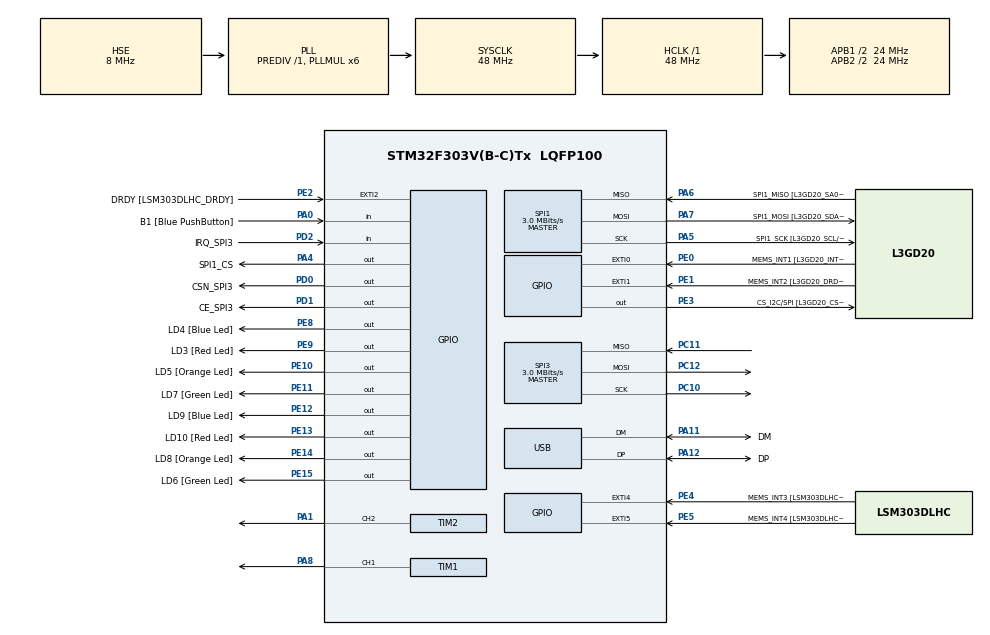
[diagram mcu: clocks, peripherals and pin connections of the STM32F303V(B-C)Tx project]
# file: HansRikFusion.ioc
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Mcu.Family=STM32F3
Mcu.Name=STM32F303V(B-C)Tx
Mcu.Package=LQFP100
NVIC.PriorityGroup=NVIC_PRIORITYGROUP_0
NVIC.USB_LP_CAN_RX0_IRQn=true\:0\:0\:false\:false\:true
PA0.GPIO_Label=B1 [Blue PushButton]
PA0.GPIO_Mode=GPIO_MODE_INPUT
PA0.GPIO_PuPd=GPIO_NOPULL
PA0.Signal=GPIO_Input
PA1.Signal=S_TIM2_CH2
PA11.GPIO_Label=DM
PA11.Mode=Device
PA11.Signal=USB_DM
PA12.GPIO_Label=DP
PA12.Mode=Device
PA12.Signal=USB_DP
PA13.GPIO_Label=SWDIO
PA13.Signal=SYS_JTMS-SWDIO
PA14.GPIO_Label=SWCLK
PA14.Signal=SYS_JTCK-SWCLK
PA4.GPIO_Label=SPI1_CS
PA4.PinState=GPIO_PIN_SET
PA4.Signal=GPIO_Output
PA5.GPIO_Label=SPI1_SCK [L3GD20_SCL/SPC]
PA5.GPIO_Mode=GPIO_MODE_AF_PP
PA5.GPIO_PuPd=GPIO_NOPULL
PA5.GPIO_Speed=GPIO_SPEED_FREQ_LOW
PA5.Mode=Full_Duplex_Master
PA5.Signal=SPI1_SCK
PA6.GPIO_Label=SPI1_MISO [L3GD20_SA0/SDO]
PA6.GPIO_Mode=GPIO_MODE_AF_PP
PA6.GPIO_PuPd=GPIO_PULLDOWN
PA6.GPIO_Speed=GPIO_SPEED_FREQ_LOW
PA6.Mode=Full_Duplex_Master
PA6.Signal=SPI1_MISO
PA7.GPIO_Label=SPI1_MOSI [L3GD20_SDA/SDI/SDO]
PA7.GPIO_Mode=GPIO_MODE_AF_PP
PA7.GPIO_PuPd=GPIO_NOPULL
PA7.GPIO_Speed=GPIO_SPEED_FREQ_LOW
PA7.Mode=Full_Duplex_Master
PA7.Signal=SPI1_MOSI
PA8.Signal=S_TIM1_CH1
PB3.GPIO_Label=SWO
PB3.Signal=SYS_JTDO-TRACESWO
PB6.GPIO_FM6=__NULL
PB6.GPIO_Label=I2C1_SCL [LSM303DLHC_SCL]
PB6.GPIO_Mode=GPIO_MODE_AF_OD
PB6.GPIO_PuPd=GPIO_NOPULL
PB6.GPIO_Speed=GPIO_SPEED_FREQ_LOW
PB6.Signal=I2C1_SCL
PB7.GPIO_FM7=__NULL
PB7.GPIO_Label=I2C1_SDA [LSM303DLHC_SDA]
PB7.GPIO_Mode=GPIO_MODE_AF_OD
PB7.GPIO_PuPd=GPIO_NOPULL
PB7.GPIO_Speed=GPIO_SPEED_FREQ_LOW
PB7.Signal=I2C1_SDA
PC10.Mode=Full_Duplex_Master
PC10.Signal=SPI3_SCK
PC11.Mode=Full_Duplex_Master
PC11.Signal=SPI3_MISO
PC12.Mode=Full_Duplex_Master
PC12.Signal=SPI3_MOSI
PC14-OSC32_IN.GPIO_Label=OSC32_IN
PC14-OSC32_IN.Signal=RCC_OSC32_IN
PC15-OSC32_OUT.GPIO_Label=OSC32_OUT
PC15-OSC32_OUT.Signal=RCC_OSC32_OUT
PD0.GPIO_Label=CSN_SPI3
PD0.Signal=GPIO_Output
PD1.GPIO_Label=CE_SPI3
PD1.Signal=GPIO_Output
PD2.GPIO_Label=IRQ_SPI3
PD2.Signal=GPIO_Input
PE0.GPIO_Label=MEMS_INT1 [L3GD20_INT1]
PE0.GPIO_ModeDefaultEXTI=GPIO_MODE_EVT_RISING
PE0.GPIO_PuPd=GPIO_NOPULL
PE0.Signal=GPXTI0
PE1.GPIO_Label=MEMS_INT2 [L3GD20_DRDY/INT2]
PE1.GPIO_ModeDefaultEXTI=GPIO_MODE_EVT_RISING
PE1.GPIO_PuPd=GPIO_NOPULL
PE1.Signal=GPXTI1
PE10.GPIO_Label=LD5 [Orange Led]
PE10.GPIO_ModeDefaultOutputPP=GPIO_MODE_OUTPUT_PP
PE10.GPIO_PuPd=GPIO_NOPULL
PE10.GPIO_Speed=GPIO_SPEED_FREQ_LOW
PE10.Signal=GPIO_Output
PE11.GPIO_Label=LD7 [Green Led]
PE11.GPIO_ModeDefaultOutputPP=GPIO_MODE_OUTPUT_PP
PE11.GPIO_PuPd=GPIO_NOPULL
PE11.GPIO_Speed=GPIO_SPEED_FREQ_LOW
PE11.Signal=GPIO_Output
PE12.GPIO_Label=LD9 [Blue Led]
PE12.GPIO_ModeDefaultOutputPP=GPIO_MODE_OUTPUT_PP
PE12.GPIO_PuPd=GPIO_NOPULL
PE12.GPIO_Speed=GPIO_SPEED_FREQ_LOW
PE12.Signal=GPIO_Output
PE13.GPIO_Label=LD10 [Red Led]
PE13.GPIO_ModeDefaultOutputPP=GPIO_MODE_OUTPUT_PP
PE13.GPIO_PuPd=GPIO_NOPULL
PE13.GPIO_Speed=GPIO_SPEED_FREQ_LOW
PE13.Signal=GPIO_Output
PE14.GPIO_Label=LD8 [Orange Led]
PE14.GPIO_ModeDefaultOutputPP=GPIO_MODE_OUTPUT_PP
PE14.GPIO_PuPd=GPIO_NOPULL
PE14.GPIO_Speed=GPIO_SPEED_FREQ_LOW
PE14.Signal=GPIO_Output
PE15.GPIO_Label=LD6 [Green Led]
PE15.GPIO_ModeDefaultOutputPP=GPIO_MODE_OUTPUT_PP
PE15.GPIO_PuPd=GPIO_NOPULL
PE15.GPIO_Speed=GPIO_SPEED_FREQ_LOW
PE15.Signal=GPIO_Output
PE2.GPIO_Label=DRDY [LSM303DLHC_DRDY]
PE2.GPIO_ModeDefaultEXTI=GPIO_MODE_EVT_RISING
PE2.GPIO_PuPd=GPIO_NOPULL
PE2.Signal=GPXTI2
PE3.GPIO_Label=CS_I2C/SPI [L3GD20_CS_I2C/SPI]
PE3.GPIO_ModeDefaultOutputPP=GPIO_MODE_OUTPUT_PP
PE3.GPIO_PuPd=GPIO_NOPULL
PE3.GPIO_Speed=GPIO_SPEED_FREQ_LOW
PE3.Signal=GPIO_Output
PE4.GPIO_Label=MEMS_INT3 [LSM303DLHC_INT1]
PE4.GPIO_ModeDefaultEXTI=GPIO_MODE_EVT_RISING
PE4.GPIO_PuPd=GPIO_NOPULL
PE4.Signal=GPXTI4
PE5.GPIO_Label=MEMS_INT4 [LSM303DLHC_INT2]
PE5.GPIO_ModeDefaultEXTI=GPIO_MODE_EVT_RISING
PE5.GPIO_PuPd=GPIO_NOPULL
PE5.Signal=GPXTI5
PE8.GPIO_Label=LD4 [Blue Led]
PE8.GPIO_ModeDefaultOutputPP=GPIO_MODE_OUTPUT_PP
PE8.GPIO_PuPd=GPIO_NOPULL
PE8.GPIO_Speed=GPIO_SPEED_FREQ_LOW
PE8.Signal=GPIO_Output
PE9.GPIO_Label=LD3 [Red Led]
PE9.GPIO_ModeDefaultOutputPP=GPIO_MODE_OUTPUT_PP
PE9.GPIO_PuPd=GPIO_NOPULL
PE9.GPIO_Speed=GPIO_SPEED_FREQ_LOW
PE9.Signal=GPIO_Output
PF0-OSC_IN.GPIO_Label=OSC_IN
PF0-OSC_IN.Mode=HSE-External-Clock-Source
PF0-OSC_IN.Signal=RCC_OSC_IN
PF1-OSC_OUT.GPIO_Label=OSC_OUT
PF1-OSC_OUT.Signal=RCC_OSC_OUT
ProjectManager.HeapSize=0x200
ProjectManager.StackSize=0x400
ProjectManager.TargetToolchain=SW4STM32
RCC.AHBFreq_Value=48000000
RCC.APB1CLKDivider=RCC_HCLK_DIV2
RCC.APB1Freq_Value=24000000
RCC.APB1TimFreq_Value=48000000
RCC.APB2CLKDivider=RCC_HCLK_DIV2
RCC.APB2Freq_Value=24000000
RCC.APB2TimFreq_Value=48000000
RCC.CortexFreq_Value=48000000
RCC.HCLKFreq_Value=48000000
RCC.HSE_VALUE=8000000
RCC.HSIState=RCC_HSI_ON
RCC.HSI_VALUE=8000000
RCC.LSE_VALUE=32768
RCC.PLLMUL=RCC_PLL_MUL6
RCC.SYSCLKFreq_VALUE=48000000
RCC.SYSCLKSourceVirtual=RCC_SYSCLKSOURCE_PLLCLK
RCC.USBFreq_Value=48000000
SH.S_TIM1_CH1.0=TIM1_CH1,PWM Generation1 CH1
SH.S_TIM2_CH2.0=TIM2_CH2,PWM Generation2 CH2
SPI1.BaudRatePrescaler=SPI_BAUDRATEPRESCALER_8
SPI1.CalculateBaudRate=3.0 MBits/s
SPI1.DataSize=SPI_DATASIZE_8BIT
SPI1.Mode=SPI_MODE_MASTER
SPI3.BaudRatePrescaler=SPI_BAUDRATEPRESCALER_8
SPI3.CalculateBaudRate=3.0 MBits/s
SPI3.DataSize=SPI_DATASIZE_8BIT
SPI3.Mode=SPI_MODE_MASTER
TIM1.Period=260
TIM1.Prescaler=4800
TIM2.Channel-PWM\ Generation2\ CH2=TIM_CHANNEL_2
TIM2.OCMode_PWM-PWM\ Generation2\ CH2=TIM_OCMODE_PWM2
TIM2.Period=1000
TIM2.Prescaler=48
USB_DEVICE.CLASS_NAME_FS=CDC
USB_DEVICE.USBD_HandleTypeDef=hUsbDeviceFS
USB_DEVICE.VirtualMode=Cdc
USB_DEVICE.VirtualModeFS=Cdc_FS
VP_TIM1_VS_ClockSourceINT.Mode=Internal
VP_TIM2_VS_ClockSourceINT.Mode=Internal
VP_USB_DEVICE_VS_USB_DEVICE_CDC_FS.Mode=CDC_FS
board=STM32F3DISCOVERY

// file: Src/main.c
/**
  ******************************************************************************
f  * File Name          : main.c
  * Description        : Main program body
  ******************************************************************************
  *
  * Copyright (c) 2017 STMicroelectronics International N.V.
  * All rights reserved.
  *
  * Redistribution and use in source and binary forms, with or without
  * modification, are permitted, provided that the following conditions are met:
  *
  * 1. Redistribution of source code must retain the above copyright notice,
  *    this list of conditions and the following disclaimer.
  * 2. Redistributions in binary form must reproduce the above copyright notice,
  *    this list of conditions and the following disclaimer in the documentation
  *    and/or other materials provided with the distribution.
  * 3. Neither the name of STMicroelectronics nor the names of other
  *    contributors to this software may be used to endorse or promote products
  *    derived from this software without specific written permission.
  * 4. This software, including modifications and/or derivative works of this
  *    software, must execute solely and exclusively on microcontroller or
  *    microprocessor devices manufactured by or for STMicroelectronics.
  * 5. Redistribution and use of this software other than as permitted under
  *    this license is void and will automatically terminate your rights under
  *    this license.
  *
  * THIS SOFTWARE IS PROVIDED BY STMICROELECTRONICS AND CONTRIBUTORS "AS IS"
  * AND ANY EXPRESS, IMPLIED OR STATUTORY WARRANTIES, INCLUDING, BUT NOT
  * LIMITED TO, THE IMPLIED WARRANTIES OF MERCHANTABILITY, FITNESS FOR A
  * PARTICULAR PURPOSE AND NON-INFRINGEMENT OF THIRD PARTY INTELLECTUAL PROPERTY
  * RIGHTS ARE DISCLAIMED TO THE FULLEST EXTENT PERMITTED BY LAW. IN NO EVENT
  * SHALL STMICROELECTRONICS OR CONTRIBUTORS BE LIABLE FOR ANY DIRECT, INDIRECT,
  * INCIDENTAL, SPECIAL, EXEMPLARY, OR CONSEQUENTIAL DAMAGES (INCLUDING, BUT NOT
  * LIMITED TO, PROCUREMENT OF SUBSTITUTE GOODS OR SERVICES; LOSS OF USE, DATA,
  * OR PROFITS; OR BUSINESS INTERRUPTION) HOWEVER CAUSED AND ON ANY THEORY OF
  * LIABILITY, WHETHER IN CONTRACT, STRICT LIABILITY, OR TORT (INCLUDING
  * NEGLIGENCE OR OTHERWISE) ARISING IN ANY WAY OUT OF THE USE OF THIS SOFTWARE,
  * EVEN IF ADVISED OF THE POSSIBILITY OF SUCH DAMAGE.
  *
  ******************************************************************************
  */
#include <myNRF24.h>
#include "main.h"
#include "stm32f3xx_hal.h"
#include "spi.h"
#include "tim.h"
#include "usb_device.h"
#include "gpio.h"

/* USER CODE BEGIN Includes */
#include "TextOut.h"
#include "string.h"
#include "commsfpga.h"
#include "speedcalc.h"

/* USER CODE END Includes */

/* USER CODE BEGIN PV */
/* Private variables ---------------------------------------------------------*/

/* USER CODE END PV */

void SystemClock_Config(void);
void Error_Handler(void);

/* USER CODE BEGIN PFP */
/* Private function prototypes -----------------------------------------------*/
void shoot(uint8_t intensity, SPI_HandleTypeDef* spiHandle, uint8_t freqChannel, uint8_t address);
/* USER CODE END PFP */

int main(void)
{

  /* USER CODE BEGIN 1 */
//
  /* USER CODE END 1 */

  /* MCU Configuration----------------------------------------------------------*/

  /* Reset of all peripherals, Initializes the Flash interface and the Systick. */
  HAL_Init();

  /* Configure the system clock */
  SystemClock_Config();

  /* Initialize all configured peripherals */
  MX_GPIO_Init();
  MX_USB_DEVICE_Init();
  MX_SPI3_Init();
  MX_SPI1_Init();
  MX_TIM1_Init();
  MX_TIM2_Init();

  /* USER CODE BEGIN 2 */
  //rik nieuwe code
  TIM_OC_InitTypeDef dribbler;
  int kickprev=0;

  dribbler.OCMode = TIM_OCMODE_PWM2;
  dribbler.Pulse = 0;
  dribbler.OCPolarity = TIM_OCPOLARITY_HIGH;
  dribbler.OCFastMode = TIM_OCFAST_DISABLE;

  uint8_t showPacket = 0;
  uint8_t showCalculation = 0;
  uint8_t showFPGAdebug = 0;
  uint8_t comFailSecurity = 1;
  //HAL_Delay(1000);
  if (HAL_TIM_PWM_ConfigChannel(&htim2, &dribbler, TIM_CHANNEL_2) != HAL_OK){
		 Error_Handler();
  }

  HAL_TIM_PWM_Start(&htim2,TIM_CHANNEL_2);
  /*while(!HAL_GPIO_ReadPin(GPIOA, GPIO_PIN_0)){
	  HAL_Delay(1);
  }*/
  fun();

  int intToMotor = 0;

  int loopcntr = 0;

  wheelVelocityPacket wheely;
  wheely.enablesWheels = 0xFF;
  wheely.velocityWheel1 = 000;
  wheely.velocityWheel2 = 000;
  wheely.velocityWheel3 = 000;
  wheely.velocityWheel4 = 000;

  wheelVelocityPacket backWheely;

  float prevWheelCommand[4];

  uint8_t address = 3;

  uint8_t freqChannel =  0x2A;
  nssHigh(&hspi3);
  HAL_Delay(100);
  initRobo(&hspi3, freqChannel, address);
  HAL_Delay(100);
  printAllRegisters(&hspi3);
  /* USER CODE END 2 */

  /* Infinite loop */
  /* USER CODE BEGIN WHILE */
  int negative = 0;

  uint8_t stopSending = 0;
  int breakCnt = 0;
  dataPacket dataStruct;

  while (1)
  {
	  if(HAL_GPIO_ReadPin(GPIOA, GPIO_PIN_0)){
		  //initRobo(&hspi3, freqChannel, address);
		  printAllRegisters(&hspi3);
		  shoot(1, &hspi3, freqChannel, address);
		  //HAL_Delay(1000);
		  fun();
	  }

	  if(irqRead(&hspi3)){
		  breakCnt = 0;
		  roboCallback(&hspi3, &dataStruct);

		  //first time kick

		  if (dataStruct.kickForce != 0 && kickprev!=dataStruct.kickForce){

			  shoot(dataStruct.kickForce, &hspi3, freqChannel, address);

		  }
		  else{}

		  kickprev = dataStruct.kickForce;

		  dribbler.Pulse=125*dataStruct.driblerSpeed;

		  if (HAL_TIM_PWM_ConfigChannel(&htim2, &dribbler, TIM_CHANNEL_2) != HAL_OK){
				 Error_Handler();
		  }

		  HAL_TIM_PWM_Start(&htim2,TIM_CHANNEL_2);
		  if(showPacket){
			  //sprintf(smallStrBuffer, "%i\n", dataStruct.kickForce);
			  //TextOut(smallStrBuffer);
			  printDataStruct(&dataStruct);
		  }
		  //TextOut("Hoera!\n");
		  calcMotorSpeed(&dataStruct, &wheely, &prevWheelCommand);
		  if(showCalculation){
			  sprintf(smallStrBuffer, "wheely: %i   %i   %i   %i\n", wheely.velocityWheel1, wheely.velocityWheel2, wheely.velocityWheel3, wheely.velocityWheel4);
			  TextOut(smallStrBuffer);
		  }
	  }

	  //REMOVED DELAY
	  HAL_Delay(1);

	if(breakCnt >= 250 && comFailSecurity == 1){
		wheely.velocityWheel1 = 0;
		wheely.velocityWheel2 = 0;
		wheely.velocityWheel3 = 0;
		wheely.velocityWheel4 = 0;
		initRobo(&hspi3, 0x2A, address);
		breakCnt = 0;
	}

	breakCnt++;

	if(usbLength != 0){
		//TextOut("received Data\n");

		for(int i = 0; i <= usbLength; i++){

			if(usbData[i] >= 48 && usbData[i] <= 57){
				//sprintf(smallStrBuffer, "i = %i; usbData[i] = %i; intToMotor = %i\n", i, usbData[i]-48, intToMotor);
				sprintf(smallStrBuffer, "%i", usbData[i]-48);
				TextOut(smallStrBuffer);
				intToMotor = intToMotor*10;
				intToMotor += (usbData[i] - 48);
				stopSending = 1;
			}
			else if(usbData[i] == 32){
				if(negative == 1){
					intToMotor = -intToMotor;
					negative = 0;
				}
				TextOut("\n");
				wheely.velocityWheel1 = intToMotor;
				wheely.velocityWheel2 = intToMotor;
				wheely.velocityWheel3 = -intToMotor;
				wheely.velocityWheel4 = -intToMotor;

				stopSending = 0;
				intToMotor = 0;
			}
			else if(usbData[i] == 45){
				//sprintf(smallStrBuffer, "-");
				//TextOut(smallStrBuffer);
				negative = 1;
			}
			else if(usbData[i] == 's'){

				shoot(intToMotor, &hspi3, freqChannel, address);

				stopSending = 0;
				intToMotor = 0;

			}
			else if(usbData[i] == 'd'){
				dribbler.Pulse=125*intToMotor;
				stopSending = 0;
				intToMotor = 0;

				sprintf(smallStrBuffer, "dribler pulse = %i", dribbler.Pulse);
				TextOut(smallStrBuffer);
				if (HAL_TIM_PWM_ConfigChannel(&htim2, &dribbler, TIM_CHANNEL_2) != HAL_OK){
					Error_Handler();
				 }

				 HAL_TIM_PWM_Start(&htim2,TIM_CHANNEL_2);
			}
			else if(usbData[i] == 'i'){
				if(intToMotor >= 0 && intToMotor <= 9){
					address = intToMotor;
					initRobo(&hspi3, freqChannel, address);
					sprintf(smallStrBuffer, "address = %i\n", intToMotor);
					TextOut(smallStrBuffer);
				}
				else{
					TextOut("error: id should be between 0 and 9");
				}
			}
			else if(usbData[i] == 'p'){
				if(showPacket == 0){
					showPacket = 1;
					TextOut("showPacket enabled\n");
				}
				else{
					showPacket = 0;
					TextOut("showPacket disabled\n");
				}
			}
			else if(usbData[i] == 'c'){
				if(showCalculation == 0){
					showCalculation = 1;
					TextOut("showCalculation enabled\n");
				}
				else{
					showCalculation = 0;
					TextOut("showCalculation disabled\n");
				}
			}
			else if(usbData[i] == 'f'){
				if(showFPGAdebug == 0){
					showFPGAdebug = 1;
					TextOut("showFPGAdebug enabled\n");
				}
				else{
					showFPGAdebug = 0;
					TextOut("showFPGAdebug disabled\n");
				}
			}
			else if(usbData[i] == 'b'){
				if(comFailSecurity == 0){
					comFailSecurity = 1;
					TextOut("comFailSecurity enabled\n");
				}
				else{
					comFailSecurity = 0;
					TextOut("comFailSecurity disabled\n");
				}
			}
			else if(usbData[i] == 'r'){
				//initRobo(&hspi3, freqChannel, address);
				printAllRegisters(&hspi3);
			}
			else if(usbData[i] != 0){
				TextOut("no number send\n");

				stopSending = 0;
				intToMotor = 0;
			}
		}
		usbLength = 0;

	}

	if(loopcntr == 1){
		sendReceivePacket(&hspi1, &wheely, &backWheely);
		if(showFPGAdebug){
			uint8_t regTest;
			sprintf(smallStrBuffer, "wheely: %i, %i, %i, %i,", wheely.velocityWheel1, wheely.velocityWheel2, wheely.velocityWheel3, wheely.velocityWheel4);
			TextOut(smallStrBuffer);
			sprintf(smallStrBuffer, "%i, %i, %i, %i, %x\n", backWheely.velocityWheel1, backWheely.velocityWheel2, backWheely.velocityWheel3, backWheely.velocityWheel4, backWheely.enablesWheels);
			TextOut(smallStrBuffer);
		}
		//sprintf(smallStrBuffer, "%u, %u, %u, %u, %x\n", (unsigned int)wheely.velocityWheel1, (unsigned int)wheely.velocityWheel2, wheely.velocityWheel3, wheely.velocityWheel4, wheely.enablesWheels);
		//TextOut(smallStrBuffer);
		loopcntr = 0;
	}

	if(!stopSending){
		loopcntr++;
	}

  /* USER CODE END WHILE */

  }

}

/** System Clock Configuration
*/
void SystemClock_Config(void)
{

  RCC_OscInitTypeDef RCC_OscInitStruct;
  RCC_ClkInitTypeDef RCC_ClkInitStruct;
  RCC_PeriphCLKInitTypeDef PeriphClkInit;

    /**Initializes the CPU, AHB and APB busses clocks
    */
  RCC_OscInitStruct.OscillatorType = RCC_OSCILLATORTYPE_HSE;
  RCC_OscInitStruct.HSEState = RCC_HSE_BYPASS;
  RCC_OscInitStruct.HSEPredivValue = RCC_HSE_PREDIV_DIV1;
  RCC_OscInitStruct.HSIState = RCC_HSI_ON;
  RCC_OscInitStruct.PLL.PLLState = RCC_PLL_ON;
  RCC_OscInitStruct.PLL.PLLSource = RCC_PLLSOURCE_HSE;
  RCC_OscInitStruct.PLL.PLLMUL = RCC_PLL_MUL6;
  if (HAL_RCC_OscConfig(&RCC_OscInitStruct) != HAL_OK)
  {
    Error_Handler();
  }

    /**Initializes the CPU, AHB and APB busses clocks
    */
  RCC_ClkInitStruct.ClockType = RCC_CLOCKTYPE_HCLK|RCC_CLOCKTYPE_SYSCLK
                              |RCC_CLOCKTYPE_PCLK1|RCC_CLOCKTYPE_PCLK2;
  RCC_ClkInitStruct.SYSCLKSource = RCC_SYSCLKSOURCE_PLLCLK;
  RCC_ClkInitStruct.AHBCLKDivider = RCC_SYSCLK_DIV1;
  RCC_ClkInitStruct.APB1CLKDivider = RCC_HCLK_DIV2;
  RCC_ClkInitStruct.APB2CLKDivider = RCC_HCLK_DIV2;

  if (HAL_RCC_ClockConfig(&RCC_ClkInitStruct, FLASH_LATENCY_1) != HAL_OK)
  {
    Error_Handler();
  }

  PeriphClkInit.PeriphClockSelection = RCC_PERIPHCLK_USB|RCC_PERIPHCLK_TIM1;
  PeriphClkInit.USBClockSelection = RCC_USBCLKSOURCE_PLL;
  PeriphClkInit.Tim1ClockSelection = RCC_TIM1CLK_HCLK;
  if (HAL_RCCEx_PeriphCLKConfig(&PeriphClkInit) != HAL_OK)
  {
    Error_Handler();
  }

    /**Configure the Systick interrupt time
    */
  HAL_SYSTICK_Config(HAL_RCC_GetHCLKFreq()/1000);

    /**Configure the Systick
    */
  HAL_SYSTICK_CLKSourceConfig(SYSTICK_CLKSOURCE_HCLK);

  /* SysTick_IRQn interrupt configuration */
  HAL_NVIC_SetPriority(SysTick_IRQn, 0, 0);
}

/* USER CODE BEGIN 4 */

void shoot(uint8_t intensity, SPI_HandleTypeDef* spiHandle, uint8_t freqChannel, uint8_t address){

	TIM_OC_InitTypeDef kickpulse;

	kickpulse.OCMode = TIM_OCMODE_PWM1;
	kickpulse.Pulse = 0;
	kickpulse.OCPolarity = TIM_OCPOLARITY_HIGH;
	kickpulse.OCNPolarity = TIM_OCNPOLARITY_HIGH;
	kickpulse.OCFastMode = TIM_OCFAST_DISABLE;
	kickpulse.OCIdleState = TIM_OCIDLESTATE_RESET;
	kickpulse.OCNIdleState = TIM_OCNIDLESTATE_RESET;

	//kickpulse.Pulse = intensity;
	int delay;

	kickpulse.Pulse = 259;
	delay = 10;

	if (HAL_TIM_PWM_ConfigChannel(&htim1, &kickpulse, TIM_CHANNEL_1) != HAL_OK){
		Error_Handler();
	}

	HAL_TIM_PWM_Start(&htim1,TIM_CHANNEL_1);
	HAL_Delay(delay);//jaja komt wel goed
	kickpulse.Pulse=0;
	if (HAL_TIM_PWM_ConfigChannel(&htim1, &kickpulse, TIM_CHANNEL_1) != HAL_OK){
		Error_Handler();
	}
	HAL_Delay(10);
	HAL_TIM_PWM_Start(&htim1,TIM_CHANNEL_1);

	TextOut("shoot!\n");

	//wheely.velocityWheel1 = intToMotor;
	//wheely.velocityWheel2 = intToMotor;
	//wheely.velocityWheel3 = -intToMotor;
	//wheely.velocityWheel4 = -intToMotor;
	//HAL_Delay(100);
	//initRobo(spiHandle, freqChannel, address);
	//HAL_Delay(100);
}

/* USER CODE END 4 */

void Error_Handler(void)
{
  while(1)
  {
  }
}

/************************ (C) COPYRIGHT STMicroelectronics *****END OF FILE****/
